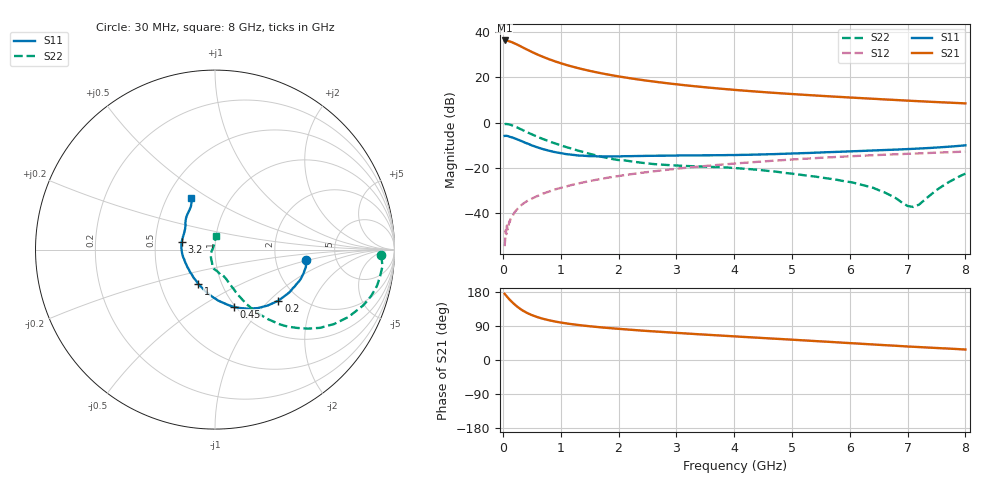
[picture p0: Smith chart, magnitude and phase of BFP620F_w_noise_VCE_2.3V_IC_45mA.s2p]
! Infineon Technologies  Discrete & RF Semiconductors
! BFP620F
! VCE =  2.3 V,  IC =  45 mA
! Common Emitter S-Parameters:  Dec 2014
# GHz  S  MA  R  50
!  f  S11  S21  S12  S22
! GHz  MAG  ANG  MAG  ANG  MAG  ANG  MAG  ANG
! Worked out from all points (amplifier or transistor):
!   95 points, 30 MHz to 8 GHz, reference 50 ohm
!   highest |S21| = 36.2 dB at 30 MHz (marker M1)
!   |S21| within 3 dB of that: start of sweep to 338.5 MHz
!   unconditionally stable (mu >= 1): 1.968 GHz to end of sweep
!   at 300 MHz: K = 0.49, MSG = 35.2 dB, |S12| = -36.7 dB
!   at 3.3 GHz: K = 1.03, MAG = 16.7 dB, |S12| = -19.6 dB
!   at 8 GHz: K = 1.06, MAG = 9.2 dB, |S12| = -12.8 dB
!   lowest NFmin = 1.45 dB at 450 MHz
!   S11 on the Smith chart (normalised r, x): 30 MHz: 3.00, -0.48; 200 MHz: 1.59, -1.14; 450 MHz: 0.98, -0.71; 1 GHz: 0.78, -0.31; 3.2 GHz: 0.69, +0.06; 8 GHz: 0.66, +0.42
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0.03  0.5105 -6.6  64.84 174.8  0.0019 71.7  0.9251 -2.0
0.07  0.511 -14.9  64.31 167.5  0.0054 70.8  0.9323 -8.9
0.12  0.4896 -24.7  61.51 158.8  0.0065 75.0  0.9077 -16.5
0.15  0.4775 -30.1  59.73 154.2  0.008 78.2  0.8817 -20.7
0.2  0.4537 -38.8  56.04 147.0  0.0105 77.3  0.8329 -26.8
0.25  0.4286 -46.6  52.38 140.5  0.0125 71.6  0.7813 -32.1
0.3  0.4042 -53.7  48.7 134.9  0.0146 72.5  0.7296 -36.7
0.35  0.3786 -60.4  45.1 130.0  0.0164 70.9  0.6793 -40.4
0.45  0.3371 -71.7  38.97 121.9  0.0198 69.6  0.5922 -46.5
0.5  0.3164 -76.8  36.26 118.6  0.0212 70.1  0.554 -48.9
0.6  0.2851 -86.3  31.69 113.0  0.0243 69.3  0.4874 -52.7
0.7  0.2601 -94.4  28.01 108.5  0.0275 69.2  0.4335 -55.7
0.8  0.2408 -102.1  24.98 104.8  0.0304 69.3  0.3881 -58.0
1  0.2133 -115.6  20.44 98.9  0.0366 69.2  0.318 -61.3
1.4  0.1869 -138.2  14.86 90.7  0.0486 68.6  0.224 -65.8
2  0.1804 -163.2  10.47 82.3  0.0667 66.4  0.15 -73.2
2.7  0.1872 177.9  7.785 74.6  0.0874 62.9  0.1202 -84.5
3.2  0.1896 167.5  6.579 69.7  0.1024 60.3  0.1107 -90.6
4.1  0.1949 152.6  5.168 61.5  0.1284 55.1  0.0984 -96.6
5.4  0.2181 139.0  3.976 50.0  0.1654 46.7  0.065 -107.2
6.7  0.2522 126.9  3.208 38.4  0.1988 37.7  0.0252 -144.5
8  0.3166 114.7  2.663 27.7  0.2303 29.0  0.0753 85.9
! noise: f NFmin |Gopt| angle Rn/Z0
0.45  1.45  0.18  -172  0.16
0.9  1.48  0.18  -172  0.14
1.5  1.49  0.23  -153  0.1
1.8  1.5  0.23  -152  0.1
1.9  1.5  0.23  -151  0.11
2.4  1.52  0.24  213  0.12
3.5  1.58  0.24  220  0.15
5.5  1.72  0.29  248  0.19
6  1.76  0.29  261  0.24
